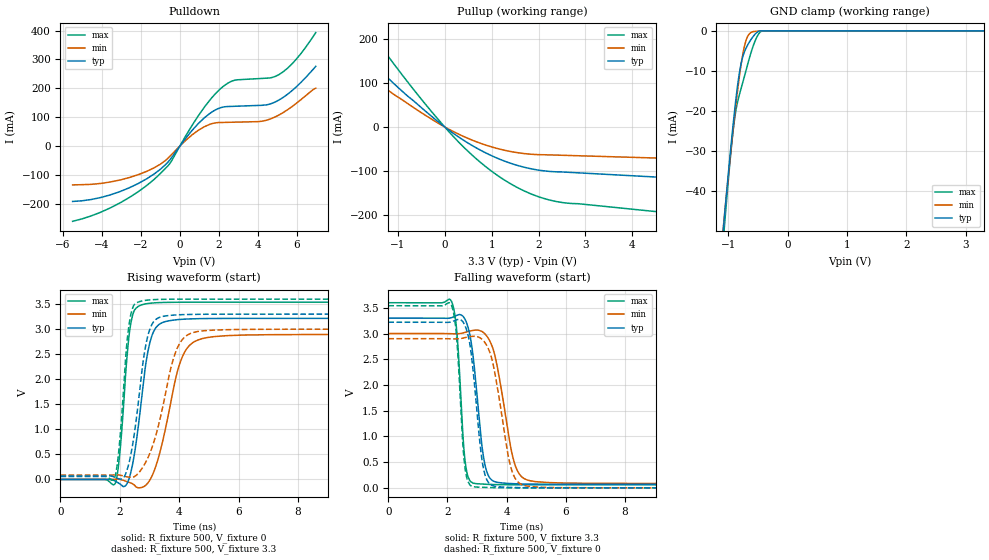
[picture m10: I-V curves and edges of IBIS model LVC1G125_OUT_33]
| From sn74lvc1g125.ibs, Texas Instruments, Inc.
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[Model]   LVC1G125_OUT_33
Model_type  3-state
Enable   Active-Low
Vref =   0
Rref =   500
Cref =   50p
Vmeas =   1.5
| variable   typ   min   max
C_comp   5.79pF   4.93pF   6.96pF
| C_pullup   10.69pF   5.83pF   13.59pF
| C_pulldown   9.08pF   6.15pF   12.94pF
| C_tri-state   5.79pF   4.93pF   6.96pF
[Temperature Range]   40   100   -40
| Ambient temperature   25   85   -40
[Voltage range]   3.3   3   3.6
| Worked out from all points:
|   slope of the pulldown table from 0 to 0.495 V, typ, clamps not added: 11.4 ohm
|   slope of the pullup table from 0 to 0.495 V, typ, clamps not added: 13.5 ohm
|   GND clamp passes 1 mA (typ) near -0.56 V on its own axis
|   rising waveform, R_fixture 500, V_fixture 0: 20-80 % time 426ps typ, 655ps min, 275ps max; typ from 0 V to 3.22 V
|   falling waveform, R_fixture 500, V_fixture 3.3: 20-80 % time 344ps typ, 520ps min, 218ps max; typ from 3.3 V to 0.069 V
|   rising waveform, R_fixture 500, V_fixture 3.3: 20-80 % time 429ps typ, 707ps min, 272ps max; typ from 0.069 V to 3.3 V
|   falling waveform, R_fixture 500, V_fixture 0: 20-80 % time 334ps typ, 496ps min, 216ps max; typ from 3.22 V to 0 V
[GND Clamp]
| LVC1G125_OUT_33
|   Voltage   I(typ)   I(min)   I(max)
-5.5V     -919.3mA   -858.8mA   -997.3mA
-1.09V    -50.88mA   -50.33mA   -53.73mA
-1.06V    -45.88mA   -45.69mA   -48.27mA
-965mV    -30.65mA   -31.51mA   -31.99mA
-900mV    -21.09mA   -22.43mA   -22.89mA
-815mV    -10.88mA   -11.85mA   -16.17mA
-740mV    -5.808mA   -4.795mA   -12.1mA
-695mV    -4.201mA   -2.212mA   -9.641mA
-640mV    -2.73mA    -696.7uA   -6.659mA
-535mV    -654.9uA   -119uA     -2.103mA
-445mV    -9.415uA   -46.28uA   -127.8uA
3.3V      25.08pA    99.5nA     647.2pA
[Pulldown]
| LVC1G125_OUT_33
|   Voltage   I(typ)   I(min)   I(max)
-5.5V     -192.5mA   -135mA     -261.3mA
-3.58V    -169.9mA   -125.2mA   -215.2mA
-1.695V   -113.6mA   -87.85mA   -136.8mA
-530mV    -49.5mA    -36.87mA   -62.11mA
930mV     76.87mA    53.82mA    103.5mA
1.53V     112.8mA    75.04mA    158.8mA
2.07V     132.5mA    81.32mA    198mA
2.8V      137.6mA    82.47mA    228mA
4.21V     141mA      85.81mA    234.3mA
5.085V    159.7mA    107.8mA    247.9mA
5.95V     204.2mA    147.1mA    300mA
6.96V     276.2mA    200.3mA    393.3mA
[Pullup]
| LVC1G125_OUT_33
|   Voltage   I(typ)   I(min)   I(max)
-5.5V     600.7mA    470.9mA    843.3mA
-2.9V     294.3mA    226.8mA    418.9mA
-2.275V   224.3mA    171.6mA    321.1mA
-1.71V    163.2mA    123.8mA    235.1mA
-1.6V     151.6mA    114.8mA    218.7mA
-400mV    35.09mA    25.81mA    50.43mA
500mV     -36.85mA   -26.21mA   -55.72mA
960mV     -63.53mA   -44.18mA   -97.57mA
1.37V     -81.48mA   -55.23mA   -127.3mA
2.21V     -101.1mA   -63.62mA   -165.7mA
7.41V     -130.9mA   -79.92mA   -224.3mA
11V       -151.8mA   -91.19mA   -263.4mA
[Ramp]
| LVC1G125_OUT_33
| variable   typ   min   max
dV/dt_r   2.01/4.48E-10   1.84/6.99E-10   2.19/2.90E-10
dV/dt_f   1.98/3.62E-10   1.79/5.39E-10   2.17/2.29E-10
R_load = 500
[Rising Waveform]
| LVC1G125_OUT_33
R_fixture =   500
C_fixture =   0
L_fixture =   0
V_fixture =   0
V_fixture_min = 0
V_fixture_max = 0
|   Time   V(typ)   V(min)   V(max)
0s        141.8pV    4.978nV    2.659nV
1.845ns   -32.24mV   4.86mV     -82.08mV
2ns       -87.64mV   666.5uV    525.7mV
2.24ns    -84.36mV   -43.03mV   2.433V
2.375ns   153.7mV    -71.88mV   3.128V
2.995ns   2.689V     -27.72mV   3.516V
3.315ns   3.091V     463.2mV    3.53V
4.12ns    3.198V     2.467V     3.538V
5.195ns   3.214V     2.853V     3.539V
50ns      3.216V     2.894V     3.539V
[Falling Waveform]
| LVC1G125_OUT_33
R_fixture =   500
C_fixture =   0
L_fixture =   0
V_fixture =   3.3
V_fixture_min = 3
V_fixture_max = 3.6
|   Time   V(typ)   V(min)   V(max)
0s        3.3V       3V         3.6V
2.135ns   3.309V     2.997V     3.628V
2.32ns    3.356V     2.996V     3.008V
2.61ns    3.258V     3.026V     458.1mV
2.97ns    1.984V     3.069V     81.77mV
3.195ns   694.1mV    3.03V      73.56mV
3.41ns    208.9mV    2.878V     67.32mV
4.285ns   80.03mV    447.5mV    60mV
5ns       72.2mV     120.1mV    59.23mV
50ns      69.37mV    85.9mV     58.93mV
[Rising Waveform]
| LVC1G125_OUT_33
R_fixture =   500
C_fixture =   0
L_fixture =   0
V_fixture =   3.3
V_fixture_min = 3
V_fixture_max = 3.6
|   Time   V(typ)   V(min)   V(max)
0s        69.35mV    85.87mV    58.92mV
1.805ns   51.04mV    89.51mV    6.306mV
1.965ns   12.61mV    89.45mV    569.2mV
2.21ns    133.2mV    55.29mV    2.536V
2.345ns   421.3mV    43.8mV     3.218V
2.9ns     2.756V     376.3mV    3.578V
3.205ns   3.192V     864.2mV    3.592V
3.93ns    3.285V     2.614V     3.599V
4.825ns   3.298V     2.969V     3.6V
50ns      3.3V       3V         3.6V
[Falling Waveform]
| LVC1G125_OUT_33
R_fixture =   500
C_fixture =   0
L_fixture =   0
V_fixture =   0
V_fixture_min = 0
V_fixture_max = 0
|   Time   V(typ)   V(min)   V(max)
0s        3.22V      2.9V       3.542V
2.13ns    3.228V     2.897V     3.557V
2.3ns     3.265V     2.896V     2.995V
2.59ns    3.159V     2.921V     404.9mV
2.885ns   2.18V      2.947V     20.16mV
3.15ns    617mV      2.898V     11.82mV
3.33ns    158.8mV    2.767V     7.594mV
4.17ns    8.121mV    349.5mV    976.4uV
4.795ns   2.21mV     26.17mV    313.2uV
50ns      19.95uV    27.98uV    12.89uV
